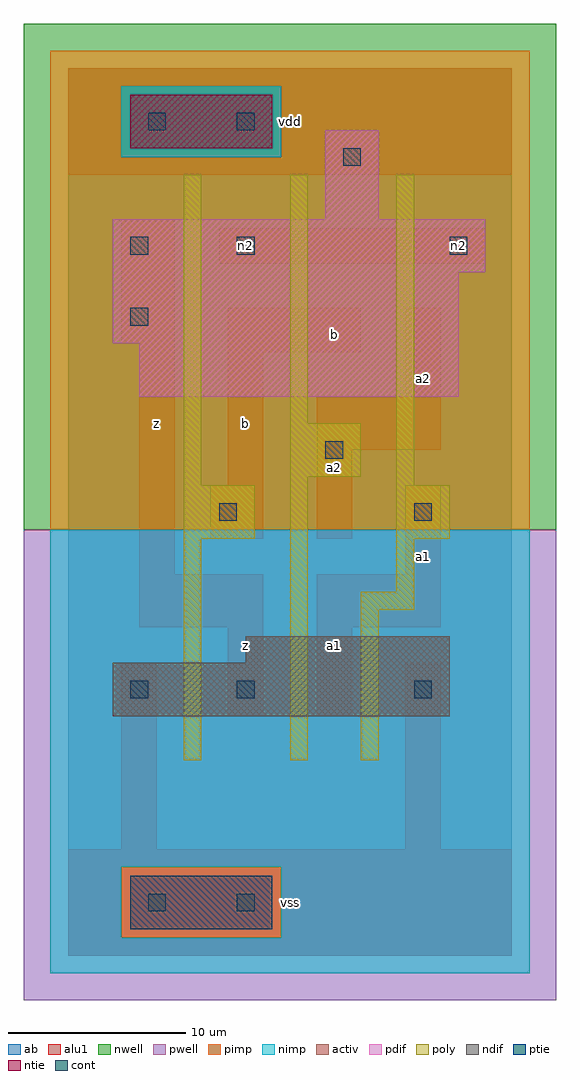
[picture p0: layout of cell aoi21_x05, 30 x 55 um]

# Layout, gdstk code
import gdstk
lib = gdstk.Library(unit=1e-6, precision=1e-09)
def R(c, l, rs):  # rectangles x0, y0, x1, y1
    for r in rs: c.add(gdstk.rectangle(r[:2], r[2:], *l))
ndif = (3, 0)
pdif = (4, 0)
ntie = (5, 0)
ptie = (6, 0)
cont = (25, 0)
pwell = (41, 0)
nwell = (42, 0)
activ = (43, 0)
pimp = (44, 0)
nimp = (45, 0)
poly = (46, 0)
alu1 = (49, 0)
ab = (63, 0)

aoi21_x05 = lib.new_cell('aoi21_x05')
R(aoi21_x05, ndif, [(2.5,13.5,21.5,16.5), (10,16.5,21.5,18)])
R(aoi21_x05, pdif, [(4,31.5,22,34.5), (2.5,34.5,22,38.5), (2.5,38.5,23.5,41.5), (14.5,41.5,17.5,46.5)])
R(aoi21_x05, ntie, [(3.5,45.5,11.5,48.5)])
R(aoi21_x05, ptie, [(3.5,1.5,11.5,4.5)])
R(aoi21_x05, cont, [(4.5,2.5,5.5,3.5), (9.5,2.5,10.5,3.5), (3.5,14.5,4.5,15.5), (9.5,14.5,10.5,15.5), (19.5,14.5,20.5,15.5), (8.5,24.5,9.5,25.5), (19.5,24.5,20.5,25.5), (14.5,28,15.5,29), (3.5,35.5,4.5,36.5), (3.5,39.5,4.5,40.5), (9.5,39.5,10.5,40.5), (21.5,39.5,22.5,40.5), (15.5,44.5,16.5,45.5), (4.5,46.5,5.5,47.5), (9.5,46.5,10.5,47.5)])
R(aoi21_x05, pwell, [(-2.5,-2.5,27.5,24)])
R(aoi21_x05, nwell, [(-2.5,24,27.5,52.5)])
R(aoi21_x05, activ, [(3.5,1.5,11.5,4.5), (2.5,13.5,21.5,16.5), (10,16.5,21.5,18), (4,31.5,22,34.5), (2.5,34.5,22,38.5), (2.5,38.5,23.5,41.5), (14.5,41.5,17.5,46.5), (3.5,45.5,11.5,48.5)])
R(aoi21_x05, pimp, [(3,1,12,5), (-1,24,26,45), (-1,45,3,49), (12,45,26,49), (-1,49,26,51)])
R(aoi21_x05, nimp, [(-1,-1,26,1), (-1,1,3,5), (12,1,26,5), (-1,5,26,24), (3,45,12,49)])
R(aoi21_x05, poly, [(6.5,11,7.5,23.5), (12.5,11,13.5,27), (16.5,11,17.5,19.5), (16.5,19.5,19.5,20.5), (18.5,20.5,19.5,23.5), (6.5,23.5,10.5,26.5), (18.5,23.5,21.5,26.5), (6.5,26.5,7.5,44), (18.5,26.5,19.5,44), (12.5,27,16.5,30), (12.5,30,13.5,44)])
R(aoi21_x05, alu1, [(0,0,25,6), (0,0,25,6), (3,6,5,16.5), (3,6,5,16.5), (19,6,21,16.5), (19,6,21,16.5), (9,13.5,11,18.5), (9,13.5,11,18.5), (14,13.5,16,18.5), (14,13.5,16,18.5), (4,18.5,11,21.5), (4,18.5,11,21.5), (14,18.5,21,21.5), (14,18.5,21,21.5), (4,21.5,6,34.5), (4,21.5,6,34.5), (19,21.5,21,26.5), (19,21.5,21,26.5), (8,23.5,11,26.5), (8,23.5,11,26.5), (14,23.5,16,28.5), (14,23.5,16,28.5), (9,26.5,11,34), (9,26.5,11,34), (14,28.5,21,31.5), (14,28.5,21,31.5), (19,31.5,21,36.5), (19,31.5,21,36.5), (9,34,16.5,36.5), (9,34,16.5,36.5), (3,34.5,6,41.5), (3,34.5,6,41.5), (8.5,39,23.5,41), (8.5,39,23.5,41), (0,44,25,50), (0,44,25,50)])
R(aoi21_x05, ab, [(0,0,25,50)])
aoi21_x05.add(gdstk.Label('n2', (10,40), layer=49, texttype=0))
aoi21_x05.add(gdstk.Label('n2', (22,40), layer=49, texttype=0))
aoi21_x05.add(gdstk.Label('z', (10,17.5), layer=49, texttype=0))
aoi21_x05.add(gdstk.Label('z', (5,30), layer=49, texttype=0))
aoi21_x05.add(gdstk.Label('b', (10,30), layer=49, texttype=0))
aoi21_x05.add(gdstk.Label('vss', (12.5,3), layer=49, texttype=0))
aoi21_x05.add(gdstk.Label('a1', (15,17.5), layer=49, texttype=0))
aoi21_x05.add(gdstk.Label('b', (15,35), layer=49, texttype=0))
aoi21_x05.add(gdstk.Label('a2', (15,27.5), layer=49, texttype=0))
aoi21_x05.add(gdstk.Label('vdd', (12.5,47), layer=49, texttype=0))
aoi21_x05.add(gdstk.Label('a1', (20,22.5), layer=49, texttype=0))
aoi21_x05.add(gdstk.Label('a2', (20,32.5), layer=49, texttype=0))

lib.write_gds('aoi21_x05.gds')
